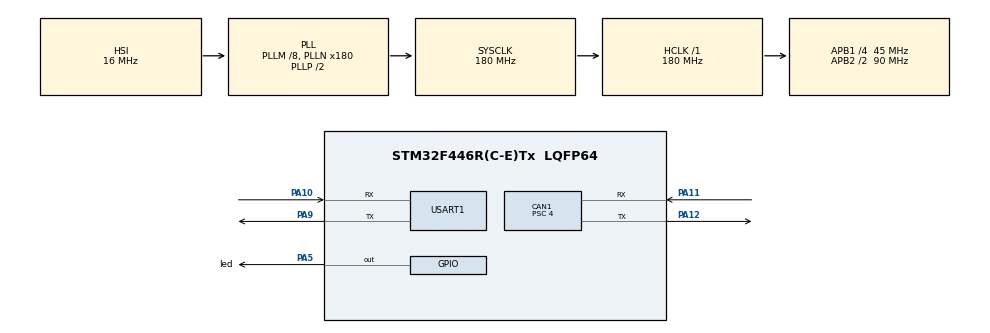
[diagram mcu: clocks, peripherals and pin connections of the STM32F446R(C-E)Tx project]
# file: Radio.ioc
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CAN1.BS1=CAN_BS1_16TQ
CAN1.BS2=CAN_BS2_4TQ
CAN1.CalculateBaudRate=535714
CAN1.CalculateTimeBit=1866
CAN1.CalculateTimeQuantum=88.88888888888889
CAN1.Prescaler=4
Dma.Request0=USART1_TX
Dma.USART1_TX.0.Direction=DMA_MEMORY_TO_PERIPH
Dma.USART1_TX.0.FIFOMode=DMA_FIFOMODE_DISABLE
Dma.USART1_TX.0.Instance=DMA2_Stream7
Dma.USART1_TX.0.MemDataAlignment=DMA_MDATAALIGN_BYTE
Dma.USART1_TX.0.MemInc=DMA_MINC_ENABLE
Dma.USART1_TX.0.Mode=DMA_CIRCULAR
Dma.USART1_TX.0.PeriphDataAlignment=DMA_PDATAALIGN_BYTE
Dma.USART1_TX.0.PeriphInc=DMA_PINC_DISABLE
Dma.USART1_TX.0.Priority=DMA_PRIORITY_LOW
Mcu.Family=STM32F4
Mcu.Name=STM32F446R(C-E)Tx
Mcu.Package=LQFP64
NVIC.DMA2_Stream7_IRQn=true\:0\:0\:false\:false\:true\:false\:true\:true
NVIC.PriorityGroup=NVIC_PRIORITYGROUP_4
PA10.Mode=Asynchronous
PA10.Signal=USART1_RX
PA11.Mode=CAN_Activate
PA11.Signal=CAN1_RX
PA12.Mode=CAN_Activate
PA12.Signal=CAN1_TX
PA5.GPIO_Label=led
PA5.Signal=GPIO_Output
PA9.Mode=Asynchronous
PA9.Signal=USART1_TX
ProjectManager.HeapSize=0x200
ProjectManager.StackSize=0x400
ProjectManager.TargetToolchain=STM32CubeIDE
RCC.AHBFreq_Value=180000000
RCC.APB1CLKDivider=RCC_HCLK_DIV4
RCC.APB1Freq_Value=45000000
RCC.APB1TimFreq_Value=90000000
RCC.APB2CLKDivider=RCC_HCLK_DIV2
RCC.APB2Freq_Value=90000000
RCC.APB2TimFreq_Value=180000000
RCC.CortexFreq_Value=180000000
RCC.HCLKFreq_Value=180000000
RCC.PLLM=8
RCC.PLLN=180
RCC.SYSCLKFreq_VALUE=180000000
RCC.SYSCLKSource=RCC_SYSCLKSOURCE_PLLCLK
RCC.USBFreq_Value=180000000
RCC.VCOOutputFreq_Value=360000000
USART1.VirtualMode=VM_ASYNC
board=custom

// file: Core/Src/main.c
/* USER CODE BEGIN Header */
/**
  ******************************************************************************
  * @file           : main.c
  * @brief          : Main program body
  ******************************************************************************
  * @attention
  *
  * <h2><center>&copy; Copyright (c) 2019 STMicroelectronics.
  * All rights reserved.</center></h2>
  *
  * This software component is licensed by ST under BSD 3-Clause license,
  * the "License"; You may not use this file except in compliance with the
  * License. You may obtain a copy of the License at:
  *                        opensource.org/licenses/BSD-3-Clause
  *
  ******************************************************************************
  */
/* USER CODE END Header */
#include "main.h"
#include "can.h"
#include "dma.h"
#include "usart.h"
#include "gpio.h"

/* USER CODE BEGIN Includes */
#include "../../externalSrc/block_4Hz.h"
#include "../../externalSrc/block_10Hz.h"
#include "../../externalSrc/block_100Hz.h"
/* USER CODE END Includes */

/* USER CODE BEGIN PD */

/*ERROR HANDLER TO-DO*/
#define ERROR_START_CAN		0x10
#define ERROR_DATA_CAN		0x11
#define ERROR_TIMEOUT_CAN	0x12

/*CAN IDs*/
/*NB Low First Byte in received data*/
#define PC_WARNING		0x100

#define BUFFER_BLOCK1	0x101
#define BUFFER_BLOCK2	0x102
#define BUFFER_BLOCK3	0x103

#define GPS_BLOCK1		0x104
#define GPS_BLOCK2		0x105
#define GPS_BLOCK3		0x106

#define GYRO_BLOCK1		0x107
#define GYRO_BLOCK2		0x108

#define FWHEEL_BLOCK1	0x109
#define FWHEEL_BLOCK2	0x110

#define RWHEEL_BLOCK1	0x111
#define RWHEEL_BLOCK2	0x112
/* USER CODE END PD */

/* USER CODE BEGIN PV */

//DATA BLOCKS
block_100Hz block100;

block_100Hz* pointer;

block_10Hz block10;
block_4Hz block4;

//CANBUS VARIABLES
CAN_RxHeaderTypeDef receiveHeader;
CAN_TxHeaderTypeDef transmitHeader;
CAN_FilterTypeDef sFilter;
uint8_t can_received_data[8];
uint8_t can_transmit_data[8];
uint32_t mailbox;
uint32_t canCurrTime;
uint16_t canTimeout = 10;
uint16_t workingIndex;

//TIMING VARIABLES
uint32_t startTime=0;
uint32_t nowTime=0;
uint16_t counter=0;

/* USER CODE END PV */

void SystemClock_Config(void);
/* USER CODE BEGIN PFP */
void filterSettings(void);
void User_Error_Handler(uint8_t error_id);
void codeData100Hz(block_100Hz *block);
void setDecodedData100Hz(block_100Hz *block);
/* USER CODE END PFP */

int main(void)
{

  /* MCU Configuration--------------------------------------------------------*/

  /* Reset of all peripherals, Initializes the Flash interface and the Systick. */
  HAL_Init();

  /* Configure the system clock */
  SystemClock_Config();

  /* Initialize all configured peripherals */
  MX_GPIO_Init();
  MX_DMA_Init();
  MX_CAN1_Init();
  MX_USART1_UART_Init();
  /* USER CODE BEGIN 2 */

  filterSettings();
  if(HAL_CAN_Start(&hcan1) != HAL_OK){
	  User_Error_Handler(ERROR_START_CAN);
  }

  startTime=HAL_GetTick();

  /*Set transmitHeader fields*/
  transmitHeader.DLC=0;
  transmitHeader.IDE=CAN_ID_STD;
  transmitHeader.StdId=PC_WARNING;
  transmitHeader.ExtId=0x00;
  transmitHeader.RTR=CAN_RTR_REMOTE;

  /* USER CODE END 2 */

  /* Infinite loop */
  /* USER CODE BEGIN WHILE */
  while (1)
  {
	  if(HAL_GetTick()!=nowTime){
		  nowTime=HAL_GetTick();

		  /*100Hz BLOCK*/
		  if((nowTime-startTime)%10==0){
			  workingIndex=BUFFER_BLOCK1;
			  transmitHeader.StdId=workingIndex;
			  if (HAL_CAN_AddTxMessage(&hcan1, &transmitHeader, can_transmit_data, &mailbox) != HAL_OK){
				  //Error Handler
			  }
			  canCurrTime=HAL_GetTick();
			  /*Wait until receive a message or goes to timeout*/
			  while(HAL_CAN_GetRxMessage(&hcan1, CAN_RX_FIFO0, &receiveHeader, can_received_data)!=HAL_OK && HAL_GetTick()-canCurrTime<canTimeout){
			  }
			  if(receiveHeader.StdId==workingIndex && receiveHeader.IDE==CAN_ID_STD && receiveHeader.RTR==CAN_RTR_DATA && HAL_GetTick()-canCurrTime<canTimeout && receiveHeader.DLC==5){
				  block100.rpm=can_received_data[1]<<8 | can_received_data[0];
				  block100.tps=can_received_data[3]<<8 | can_received_data[2];
			  }else{
				  block100.rpm=0;
				  block100.tps=0;
				  if(HAL_GetTick()-canCurrTime>=canTimeout)
					  User_Error_Handler(ERROR_TIMEOUT_CAN);
				  else
					  User_Error_Handler(ERROR_DATA_CAN);
			  }

			  workingIndex=GYRO_BLOCK1;
			  transmitHeader.StdId=workingIndex;
			  if (HAL_CAN_AddTxMessage(&hcan1, &transmitHeader, can_transmit_data, &mailbox) != HAL_OK){
				  //Error Handler
			  }
			  canCurrTime=HAL_GetTick();
			  /*Wait until receive a message or goes to timeout*/
			  while(HAL_CAN_GetRxMessage(&hcan1, CAN_RX_FIFO0, &receiveHeader, can_received_data)!=HAL_OK && HAL_GetTick()-canCurrTime<canTimeout);
			  if(receiveHeader.StdId==workingIndex && receiveHeader.IDE==CAN_ID_STD && receiveHeader.RTR==CAN_RTR_DATA && HAL_GetTick()-canCurrTime<canTimeout && receiveHeader.DLC==6){
				  block100.accelX=can_received_data[0]<<8 | can_received_data[1];
				  block100.accelY=can_received_data[2]<<8 | can_received_data[3];
				  block100.accelZ=can_received_data[4]<<8 | can_received_data[5];
			  }else{
				  block100.accelX=0;
				  block100.accelY=0;
				  block100.accelZ=0;
				  if(HAL_GetTick()-canCurrTime>=canTimeout)
					  User_Error_Handler(ERROR_TIMEOUT_CAN);
				  else
					  User_Error_Handler(ERROR_DATA_CAN);
			  }

			  workingIndex=GYRO_BLOCK2;
			  transmitHeader.StdId=workingIndex;
			  if (HAL_CAN_AddTxMessage(&hcan1, &transmitHeader, can_transmit_data, &mailbox) != HAL_OK){
				  //Error Handler
			  }
			  canCurrTime=HAL_GetTick();
			  /*Wait until receive a message or goes to timeout*/
			  while(HAL_CAN_GetRxMessage(&hcan1, CAN_RX_FIFO0, &receiveHeader, can_received_data)!=HAL_OK && HAL_GetTick()-canCurrTime<canTimeout);
			  if(receiveHeader.StdId==workingIndex && receiveHeader.IDE==CAN_ID_STD && receiveHeader.RTR==CAN_RTR_DATA && HAL_GetTick()-canCurrTime<canTimeout && receiveHeader.DLC==6){
				  block100.gyroX=can_received_data[0]<<8 | can_received_data[1];
				  block100.gyroY=can_received_data[2]<<8 | can_received_data[3];
				  block100.gyroZ=can_received_data[4]<<8 | can_received_data[5];
			  }else{
				  block100.gyroX=0;
				  block100.gyroY=0;
				  block100.gyroZ=0;
				  if(HAL_GetTick()-canCurrTime>=canTimeout)
					  User_Error_Handler(ERROR_TIMEOUT_CAN);
				  else
					  User_Error_Handler(ERROR_DATA_CAN);
			  }

			  workingIndex=FWHEEL_BLOCK1;
			  transmitHeader.StdId=workingIndex;
			  if (HAL_CAN_AddTxMessage(&hcan1, &transmitHeader, can_transmit_data, &mailbox) != HAL_OK){
				  //Error Handler
			  }
			  canCurrTime=HAL_GetTick();
			  /*Wait until receive a message or goes to timeout*/
			  while(HAL_CAN_GetRxMessage(&hcan1, CAN_RX_FIFO0, &receiveHeader, can_received_data)!=HAL_OK && HAL_GetTick()-canCurrTime<canTimeout);
			  if(receiveHeader.StdId==workingIndex && receiveHeader.IDE==CAN_ID_STD && receiveHeader.RTR==CAN_RTR_DATA && HAL_GetTick()-canCurrTime<canTimeout && receiveHeader.DLC==4){
				  block100.potFSx=can_received_data[0];
				  block100.potFDx=can_received_data[1];
				  block100.potFOver=can_received_data[2];
				  block100.potFAccuracy=can_received_data[3];
			  }else{
				  block100.potFSx=0;
				  block100.potFDx=0;
				  block100.potFOver=0;
				  block100.potFAccuracy=0;
				  if(HAL_GetTick()-canCurrTime>=canTimeout)
					  User_Error_Handler(ERROR_TIMEOUT_CAN);
				  else
					  User_Error_Handler(ERROR_DATA_CAN);
			  }

			  workingIndex=FWHEEL_BLOCK2;
			  transmitHeader.StdId=workingIndex;
			  if (HAL_CAN_AddTxMessage(&hcan1, &transmitHeader, can_transmit_data, &mailbox) != HAL_OK){
				  //Error Handler
			  }
			  canCurrTime=HAL_GetTick();
			  /*Wait until receive a message or goes to timeout*/
			  while(HAL_CAN_GetRxMessage(&hcan1, CAN_RX_FIFO0, &receiveHeader, can_received_data)!=HAL_OK && HAL_GetTick()-canCurrTime<canTimeout);
			  if(receiveHeader.StdId==workingIndex && receiveHeader.IDE==CAN_ID_STD && receiveHeader.RTR==CAN_RTR_DATA && HAL_GetTick()-canCurrTime<canTimeout && receiveHeader.DLC==5){
				  block100.countFSx=can_received_data[0];
				  block100.countFDx=can_received_data[1];
				  block100.countFOver=can_received_data[2];
				  block100.dtF=can_received_data[3];
				  block100.steering_encoder=can_received_data[4];
			  }else{
				  block100.countFSx=0;
				  block100.countFDx=0;
				  block100.countFOver=0;
				  block100.dtF=0;
				  block100.steering_encoder=0;
				  if(HAL_GetTick()-canCurrTime>=canTimeout)
					  User_Error_Handler(ERROR_TIMEOUT_CAN);
				  else
					  User_Error_Handler(ERROR_DATA_CAN);
			  }

			  workingIndex=RWHEEL_BLOCK1;
			  transmitHeader.StdId=workingIndex;
			  if (HAL_CAN_AddTxMessage(&hcan1, &transmitHeader, can_transmit_data, &mailbox) != HAL_OK){
				  //Error Handler
			  }
			  canCurrTime=HAL_GetTick();
			  /*Wait until receive a message or goes to timeout*/
			  while(HAL_CAN_GetRxMessage(&hcan1, CAN_RX_FIFO0, &receiveHeader, can_received_data)!=HAL_OK && HAL_GetTick()-canCurrTime<canTimeout);
			  if(receiveHeader.StdId==workingIndex && receiveHeader.IDE==CAN_ID_STD && receiveHeader.RTR==CAN_RTR_DATA && HAL_GetTick()-canCurrTime<canTimeout && receiveHeader.DLC==4){
				  block100.potRSx=can_received_data[0];
				  block100.potRDx=can_received_data[1];
				  block100.potROver=can_received_data[2];
				  block100.potRAccuracy=can_received_data[3];
			  }else{
				  block100.potRSx=0;
				  block100.potRDx=0;
				  block100.potROver=0;
				  block100.potRAccuracy=0;
				  if(HAL_GetTick()-canCurrTime>=canTimeout)
					  User_Error_Handler(ERROR_TIMEOUT_CAN);
				  else
					  User_Error_Handler(ERROR_DATA_CAN);
			  }

			  workingIndex=RWHEEL_BLOCK2;
			  transmitHeader.StdId=workingIndex;
			  if (HAL_CAN_AddTxMessage(&hcan1, &transmitHeader, can_transmit_data, &mailbox) != HAL_OK){
				  //Error Handler
			  }
			  canCurrTime=HAL_GetTick();
			  /*Wait until receive a message or goes to timeout*/
			  while(HAL_CAN_GetRxMessage(&hcan1, CAN_RX_FIFO0, &receiveHeader, can_received_data)!=HAL_OK && HAL_GetTick()-canCurrTime<canTimeout);
			  if(receiveHeader.StdId==workingIndex && receiveHeader.IDE==CAN_ID_STD && receiveHeader.RTR==CAN_RTR_DATA && HAL_GetTick()-canCurrTime<canTimeout && receiveHeader.DLC==5){
				  block100.countRSx=can_received_data[0];
				  block100.countRDx=can_received_data[1];
				  block100.countROver=can_received_data[2];
				  block100.dtR=can_received_data[3];
				  block100.gear=can_received_data[4];
			  }else{
				  block100.countRSx=0;
				  block100.countRDx=0;
				  block100.countROver=0;
				  block100.dtR=0;
				  block100.gear=0;
				  if(HAL_GetTick()-canCurrTime>=canTimeout)
					  User_Error_Handler(ERROR_TIMEOUT_CAN);
				  else
					  User_Error_Handler(ERROR_DATA_CAN);
			  }

			  //BUILD SEND PACKET
			  setDecodedData100Hz(&block100);
			  codeData100Hz(&block100);

			  //SEND PACKET
			  HAL_UART_Transmit_DMA(&huart1, block100.coded_data, sizeof(block100.coded_data));

			  /*10Hz BLOCK*/
			  if(counter%10==0){
				  workingIndex=BUFFER_BLOCK2;
				  transmitHeader.StdId=workingIndex;
				  if (HAL_CAN_AddTxMessage(&hcan1, &transmitHeader, can_transmit_data, &mailbox) != HAL_OK){
					  //Error Handler
				  }
				  canCurrTime=HAL_GetTick();
				  /*Wait until receive a message or goes to timeout*/
				  while(HAL_CAN_GetRxMessage(&hcan1, CAN_RX_FIFO0, &receiveHeader, can_received_data)!=HAL_OK && HAL_GetTick()-canCurrTime<canTimeout);
				  if(receiveHeader.StdId==workingIndex && receiveHeader.IDE==CAN_ID_STD && receiveHeader.RTR==CAN_RTR_DATA && HAL_GetTick()-canCurrTime<canTimeout && receiveHeader.DLC==4){
					  block10.t_h2o=can_received_data[0];
					  block10.t_air=can_received_data[1];
					  block10.t_oil=can_received_data[2];
					  block10.vbb=can_received_data[3];
				  }else{
					  block10.t_h2o=0;
					  block10.t_air=0;
					  block10.t_oil=0;
					  block10.vbb=0;
					  if(HAL_GetTick()-canCurrTime>=canTimeout)
						  User_Error_Handler(ERROR_TIMEOUT_CAN);
					  else
						  User_Error_Handler(ERROR_DATA_CAN);
				  }

				  workingIndex=BUFFER_BLOCK3;
				  transmitHeader.StdId=workingIndex;
				  if (HAL_CAN_AddTxMessage(&hcan1, &transmitHeader, can_transmit_data, &mailbox) != HAL_OK){
					  //Error Handler
				  }
				  canCurrTime=HAL_GetTick();
				  /*Wait until receive a message or goes to timeout*/
				  while(HAL_CAN_GetRxMessage(&hcan1, CAN_RX_FIFO0, &receiveHeader, can_received_data)!=HAL_OK && HAL_GetTick()-canCurrTime<canTimeout);
				  if(receiveHeader.StdId==workingIndex && receiveHeader.IDE==CAN_ID_STD && receiveHeader.RTR==CAN_RTR_DATA && HAL_GetTick()-canCurrTime<canTimeout && receiveHeader.DLC==8){
					  block10.lambda1_avg=can_received_data[0];
					  block10.lambda1_raw=can_received_data[1];
					  block10.klambda1=can_received_data[3]<<8 | can_received_data[2];
					  block10.injLow=can_received_data[5]<<8 | can_received_data[4];
					  block10.injHigh=can_received_data[7]<<8 | can_received_data[6];
				  }else{
					  block10.lambda1_avg=0;
					  block10.lambda1_raw=0;
					  block10.klambda1=0;
					  block10.injLow=0;
					  block10.injHigh=0;
					  if(HAL_GetTick()-canCurrTime>=canTimeout)
						  User_Error_Handler(ERROR_TIMEOUT_CAN);
					  else
						  User_Error_Handler(ERROR_DATA_CAN);
				  }

				  //BUILD SEND PACKET
				  setDecodedData10Hz(&block10);
				  codeData10Hz(&block10);

				  //SEND PACKET
				  HAL_UART_Transmit_DMA(&huart1, block10.coded_data, sizeof(block10.coded_data));
			  }/*END BLOCK 10Hz*/

			  /*4Hz BLOCK - GPS (10Hz)*/
			  if(counter%10==0){
				  workingIndex=GPS_BLOCK1;
				  transmitHeader.StdId=workingIndex;
				  if (HAL_CAN_AddTxMessage(&hcan1, &transmitHeader, can_transmit_data, &mailbox) != HAL_OK){
					//Error Handler
				  }
				  canCurrTime=HAL_GetTick();
				  /*Wait until receive a message or goes to timeout*/
				  while(HAL_CAN_GetRxMessage(&hcan1, CAN_RX_FIFO0, &receiveHeader, can_received_data)!=HAL_OK && HAL_GetTick()-canCurrTime<canTimeout);
				  if(HAL_GetTick()-canCurrTime>=canTimeout){		//Modificato per debug timeout
					  HAL_GPIO_TogglePin(led_GPIO_Port, led_Pin);
					  receiveHeader.StdId = 1;
				  }
				  if(receiveHeader.StdId==workingIndex && receiveHeader.IDE==CAN_ID_STD && receiveHeader.RTR==CAN_RTR_DATA && receiveHeader.DLC==8){
					  block4.hour=can_received_data[0];
					  block4.minute=can_received_data[1];
					  block4.second=can_received_data[2];
					  block4.microsecond=can_received_data[4]<<8 | can_received_data[3];
					  block4.info=can_received_data[5];
					  block4.HDOP1=can_received_data[6];
					  block4.HDOP2=can_received_data[7];
				  }else{
					  block4.hour=0;
					  block4.minute=0;
					  block4.second=0;
					  block4.microsecond=0;
					  block4.info=0;
					  block4.HDOP1=0;
					  block4.HDOP2=0;
					  if(HAL_GetTick()-canCurrTime>=canTimeout)
						  User_Error_Handler(ERROR_TIMEOUT_CAN);
					  else
						  User_Error_Handler(ERROR_DATA_CAN);
				  }

				  workingIndex=GPS_BLOCK2;
				  transmitHeader.StdId=workingIndex;
				  if (HAL_CAN_AddTxMessage(&hcan1, &transmitHeader, can_transmit_data, &mailbox) != HAL_OK){
					  //Error Handler
				  }
				  canCurrTime=HAL_GetTick();
				  /*Wait until receive a message or goes to timeout*/
				  while(HAL_CAN_GetRxMessage(&hcan1, CAN_RX_FIFO0, &receiveHeader, can_received_data)!=HAL_OK && HAL_GetTick()-canCurrTime<canTimeout);
				  if(receiveHeader.StdId==workingIndex && receiveHeader.IDE==CAN_ID_STD && receiveHeader.RTR==CAN_RTR_DATA && HAL_GetTick()-canCurrTime<canTimeout && receiveHeader.DLC==8){
					  block4.Latitude1=can_received_data[1]<<8 | can_received_data[0];
					  block4.Latitude2=can_received_data[5]<<24 | can_received_data[4]<<16 | can_received_data[3]<<8 | can_received_data[2];
					  block4.Vel1=can_received_data[6];
					  block4.Vel2=can_received_data[7];
				  }else{
					  block4.Latitude1=0;
					  block4.Latitude2=0;
					  block4.Vel1=0;
					  block4.Vel2=0;
					  if(HAL_GetTick()-canCurrTime>=canTimeout)
						  User_Error_Handler(ERROR_TIMEOUT_CAN);
					  else
						  User_Error_Handler(ERROR_DATA_CAN);
				  }

				  workingIndex=GPS_BLOCK3;
				  transmitHeader.StdId=workingIndex;
				  if (HAL_CAN_AddTxMessage(&hcan1, &transmitHeader, can_transmit_data, &mailbox) != HAL_OK){
					  //Error Handler
				  }
				  canCurrTime=HAL_GetTick();
				  /*Wait until receive a message or goes to timeout*/
				  while(HAL_CAN_GetRxMessage(&hcan1, CAN_RX_FIFO0, &receiveHeader, can_received_data)!=HAL_OK && HAL_GetTick()-canCurrTime<canTimeout);

				  if(receiveHeader.StdId==workingIndex && receiveHeader.IDE==CAN_ID_STD && receiveHeader.RTR==CAN_RTR_DATA && HAL_GetTick()-canCurrTime<canTimeout && receiveHeader.DLC==8){
					  block4.Longitude1=can_received_data[3]<<24 | can_received_data[2]<<16 | can_received_data[1]<<8 | can_received_data[0];
					  block4.Longitude2=can_received_data[7]<<24 | can_received_data[6]<<16 | can_received_data[5]<<8 | can_received_data[4];
				  }else{
					  block4.Longitude1=0;
					  block4.Longitude2=0;
					  if(HAL_GetTick()-canCurrTime>=canTimeout)
						  User_Error_Handler(ERROR_TIMEOUT_CAN);
					  else
						  User_Error_Handler(ERROR_DATA_CAN);
				  }

				  //BUILD SEND PACKET
				  setDecodedData4Hz(&block4);
				  codeData4Hz(&block4);

				  //SEND PACKET
				  HAL_UART_Transmit_DMA(&huart1, block4.coded_data, sizeof(block4.coded_data));
			  }/*END BLOCK 4Hz*/

			  /*add 1 to counter variable (1 every 10 ms)*/
			  counter++;
		  }/*END BLOCK 100Hz*/

		  /*Reset once a minute*/
		  if(counter>6000){
			  counter=0;
		  }
		  if(nowTime-startTime>60000){
			  startTime=0;
		  }

	  }
    /* USER CODE END WHILE */

  }
}

void SystemClock_Config(void)
{
  RCC_OscInitTypeDef RCC_OscInitStruct = {0};
  RCC_ClkInitTypeDef RCC_ClkInitStruct = {0};

  /** Configure the main internal regulator output voltage
  */
  __HAL_RCC_PWR_CLK_ENABLE();
  __HAL_PWR_VOLTAGESCALING_CONFIG(PWR_REGULATOR_VOLTAGE_SCALE1);

  /** Initializes the RCC Oscillators according to the specified parameters
  * in the RCC_OscInitTypeDef structure.
  */
  RCC_OscInitStruct.OscillatorType = RCC_OSCILLATORTYPE_HSI;
  RCC_OscInitStruct.HSIState = RCC_HSI_ON;
  RCC_OscInitStruct.HSICalibrationValue = RCC_HSICALIBRATION_DEFAULT;
  RCC_OscInitStruct.PLL.PLLState = RCC_PLL_ON;
  RCC_OscInitStruct.PLL.PLLSource = RCC_PLLSOURCE_HSI;
  RCC_OscInitStruct.PLL.PLLM = 8;
  RCC_OscInitStruct.PLL.PLLN = 180;
  RCC_OscInitStruct.PLL.PLLP = RCC_PLLP_DIV2;
  RCC_OscInitStruct.PLL.PLLQ = 2;
  RCC_OscInitStruct.PLL.PLLR = 2;
  if (HAL_RCC_OscConfig(&RCC_OscInitStruct) != HAL_OK)
  {
    Error_Handler();
  }

  /** Activate the Over-Drive mode
  */
  if (HAL_PWREx_EnableOverDrive() != HAL_OK)
  {
    Error_Handler();
  }

  /** Initializes the CPU, AHB and APB buses clocks
  */
  RCC_ClkInitStruct.ClockType = RCC_CLOCKTYPE_HCLK|RCC_CLOCKTYPE_SYSCLK
                              |RCC_CLOCKTYPE_PCLK1|RCC_CLOCKTYPE_PCLK2;
  RCC_ClkInitStruct.SYSCLKSource = RCC_SYSCLKSOURCE_PLLCLK;
  RCC_ClkInitStruct.AHBCLKDivider = RCC_SYSCLK_DIV1;
  RCC_ClkInitStruct.APB1CLKDivider = RCC_HCLK_DIV4;
  RCC_ClkInitStruct.APB2CLKDivider = RCC_HCLK_DIV2;

  if (HAL_RCC_ClockConfig(&RCC_ClkInitStruct, FLASH_LATENCY_5) != HAL_OK)
  {
    Error_Handler();
  }
}

/* USER CODE BEGIN 4 */
void filterSettings(void){
	sFilter.FilterBank = 0;
	sFilter.FilterFIFOAssignment = CAN_FILTER_FIFO0;
	sFilter.FilterIdHigh = 0;
	sFilter.FilterIdLow = 0;
	sFilter.FilterMaskIdHigh = 0;
	sFilter.FilterMaskIdLow = 0;
	sFilter.FilterMode = CAN_FILTERMODE_IDMASK;
	sFilter.FilterScale = CAN_FILTERSCALE_32BIT;
	sFilter.FilterActivation = ENABLE;
	sFilter.SlaveStartFilterBank = 14;
	HAL_CAN_ConfigFilter(&hcan1, &sFilter);
}

/*When DMA finishes call stop*/
void HAL_UART_TxCpltCallback(UART_HandleTypeDef *huart){
	HAL_UART_DMAStop(&huart1);
}

/*TO-DO*/
void User_Error_Handler(uint8_t error_id){
	switch(error_id){
		case 0x10:
			/*TO-DO*/
			/*USE AN LED AND BLINK N TIMES TO IDENTIFY THE ERROR*/
			break;
		default:
			/*TO-DO*/
			break;
	}
}
/* USER CODE END 4 */

void Error_Handler(void)
{
}
